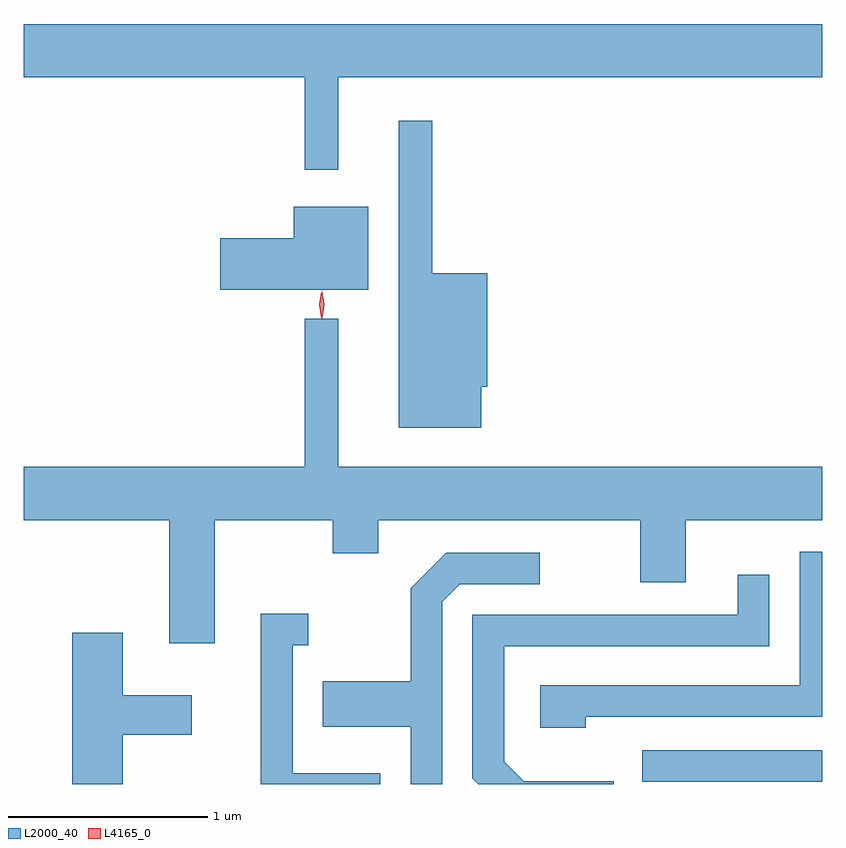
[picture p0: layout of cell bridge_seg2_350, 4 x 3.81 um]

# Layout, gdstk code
import gdstk
lib = gdstk.Library(unit=1e-6, precision=1e-09)
def R(c, l, rs):  # rectangles x0, y0, x1, y1
    for r in rs: c.add(gdstk.rectangle(r[:2], r[2:], *l))
def P(c, l, *ps):  # polygons
    for p in ps: c.add(gdstk.Polygon(p, *l))
L2000_40 = (2000, 40)
L4165_0 = (4165, 0)

bridge_seg2_350 = lib.new_cell('bridge_seg2_350')
R(bridge_seg2_350, L2000_40, [(299.183,1015.926,300.083,1016.084)])
P(bridge_seg2_350, L2000_40, [(297.659,1019.456),(300.083,1019.456),(300.083,1019.724),(296.083,1019.724),(296.083,1019.456),(297.491,1019.456),(297.491,1018.993),(297.659,1018.993)],
  [(298.374,1017.906),(298.404,1017.906),(298.404,1018.474),(298.129,1018.474),(298.129,1019.238),(297.961,1019.238),(297.961,1017.701),(298.374,1017.701)],
  [(297.809,1018.809),(297.436,1018.809),(297.436,1018.649),(297.066,1018.649),(297.066,1018.391),(297.809,1018.391)],
  [(297.039,1017.236),(297.631,1017.236),(297.631,1017.071),(297.859,1017.071),(297.859,1017.236),(299.171,1017.236),(299.171,1016.926),(299.399,1016.926),(299.399,1017.236),(300.083,1017.236),(300.083,1017.504),(297.659,1017.504),(297.659,1018.248),(297.491,1018.248),(297.491,1017.504),(296.083,1017.504),(296.083,1017.236),(296.811,1017.236),(296.811,1016.621),(297.039,1016.621)],
  [(298.899,1016.251),(300.083,1016.251),(300.083,1017.079),(299.971,1017.079),(299.971,1016.409),(298.671,1016.409),(298.671,1016.196),(298.899,1016.196)],
  [(298.179,1016.829),(298.267,1016.916),(298.668,1016.916),(298.668,1017.074),(298.199,1017.074),(298.021,1016.897),(298.021,1016.429),(297.581,1016.429),(297.581,1016.201),(298.021,1016.201),(298.021,1015.915),(298.179,1015.915)],
  [(299.039,1015.929),(298.587,1015.929),(298.489,1016.027),(298.489,1016.606),(299.819,1016.606),(299.819,1016.963),(299.661,1016.963),(299.661,1016.764),(298.331,1016.764),(298.331,1015.944),(298.36,1015.915),(299.039,1015.915)],
  [(297.869,1015.969),(297.429,1015.969),(297.429,1016.611),(297.508,1016.611),(297.508,1016.769),(297.271,1016.769),(297.271,1015.915),(297.869,1015.915)],
  [(296.579,1016.161),(296.924,1016.161),(296.924,1016.359),(296.579,1016.359),(296.579,1016.674),(296.326,1016.674),(296.326,1015.915),(296.579,1015.915)])
P(bridge_seg2_350, L4165_0, [(297.576,1018.25),(297.567,1018.318),(297.578,1018.385),(297.578,1018.386),(297.579,1018.385),(297.588,1018.318),(297.577,1018.25),(297.577,1018.25)],
  [(297.572,1018.253),(297.572,1018.253),(297.562,1018.316),(297.572,1018.379),(297.572,1018.38),(297.572,1018.379),(297.582,1018.316),(297.572,1018.253)])

lib.write_gds('bridge_seg2_350.gds')
